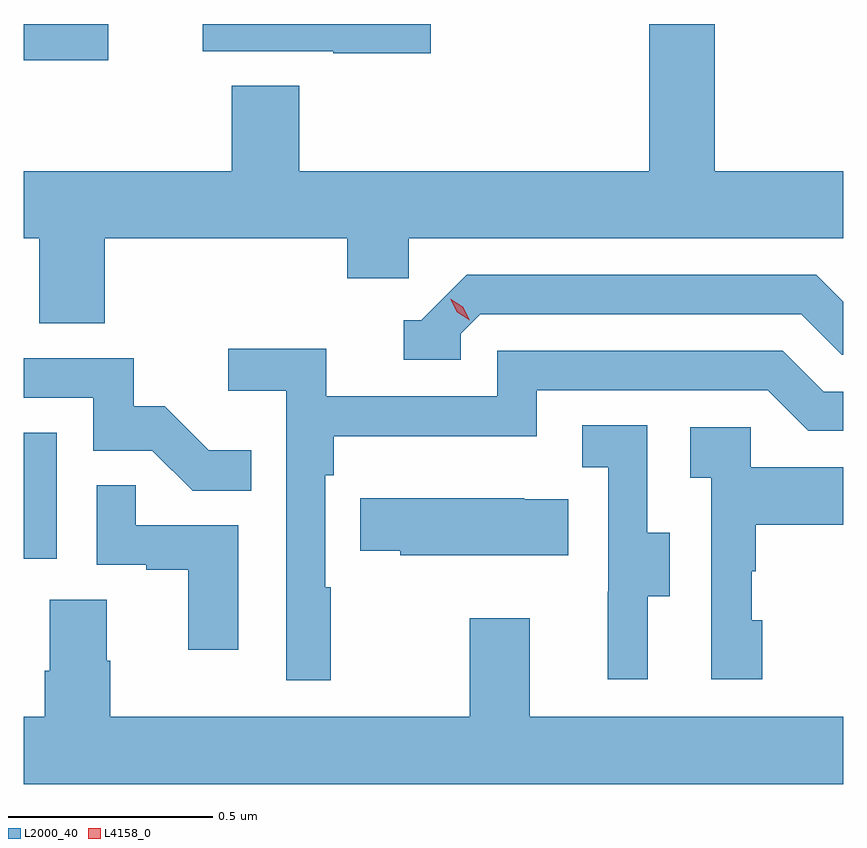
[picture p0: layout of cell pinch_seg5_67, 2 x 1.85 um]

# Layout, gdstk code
import gdstk
lib = gdstk.Library(unit=1e-6, precision=1e-09)
def R(c, l, rs):  # rectangles x0, y0, x1, y1
    for r in rs: c.add(gdstk.rectangle(r[:2], r[2:], *l))
def P(c, l, *ps):  # polygons
    for p in ps: c.add(gdstk.Polygon(p, *l))
L2000_40 = (2000, 40)
L4158_0 = (4158, 0)

pinch_seg5_67 = lib.new_cell('pinch_seg5_67')
R(pinch_seg5_67, L2000_40, [(1058.288,910.59,1058.368,910.897), (1058.288,911.806,1058.494,911.895)])
P(pinch_seg5_67, L2000_40, [(1058.486,911.372),(1059.077,911.372),(1059.077,911.274),(1059.228,911.274),(1059.228,911.372),(1060.288,911.372),(1060.288,911.536),(1059.975,911.536),(1059.975,911.895),(1059.815,911.895),(1059.815,911.536),(1058.96,911.536),(1058.96,911.744),(1058.795,911.744),(1058.795,911.536),(1058.288,911.536),(1058.288,911.372),(1058.326,911.372),(1058.326,911.164),(1058.486,911.164)],
  [(1059.281,911.895),(1058.725,911.895),(1058.725,911.829),(1059.043,911.829),(1059.043,911.824),(1059.281,911.824)],
  [(1059.354,911.139),(1059.402,911.187),(1060.185,911.187),(1060.284,911.088),(1060.288,911.088),(1060.288,911.217),(1060.222,911.283),(1059.369,911.283),(1059.258,911.172),(1059.215,911.172),(1059.215,911.076),(1059.354,911.076)],
  [(1059.037,910.52),(1059.024,910.52),(1059.024,910.793),(1059.044,910.793),(1059.044,910.889),(1059.54,910.889),(1059.54,911.001),(1060.104,911.001),(1060.203,910.902),(1060.288,910.902),(1060.288,910.998),(1060.24,910.998),(1060.141,911.097),(1059.444,911.097),(1059.444,910.986),(1059.026,910.986),(1059.026,911.102),(1058.787,911.102),(1058.787,911),(1058.928,911),(1058.928,910.293),(1059.037,910.293)],
  [(1058.843,910.855),(1058.739,910.855),(1058.632,910.962),(1058.556,910.962),(1058.556,911.079),(1058.288,911.079),(1058.288,910.983),(1058.457,910.983),(1058.457,910.854),(1058.602,910.854),(1058.7,910.756),(1058.843,910.756)],
  [(1059.811,910.498),(1059.865,910.498),(1059.865,910.653),(1059.81,910.653),(1059.81,910.916),(1059.651,910.916),(1059.651,910.813),(1059.714,910.813),(1059.714,910.509),(1059.713,910.509),(1059.713,910.296),(1059.811,910.296)],
  [(1060.09,910.44),(1060.065,910.44),(1060.065,910.559),(1060.075,910.559),(1060.075,910.673),(1060.288,910.673),(1060.288,910.813),(1060.062,910.813),(1060.062,910.911),(1059.915,910.911),(1059.915,910.787),(1059.966,910.787),(1059.966,910.296),(1060.09,910.296)],
  [(1058.812,910.671),(1058.561,910.671),(1058.561,910.769),(1058.466,910.769),(1058.466,910.575),(1058.587,910.575),(1058.587,910.563),(1058.69,910.563),(1058.69,910.368),(1058.812,910.368)],
  [(1059.617,910.735),(1059.509,910.735),(1059.509,910.738),(1059.109,910.738),(1059.109,910.609),(1059.207,910.609),(1059.207,910.598),(1059.617,910.598)],
  [(1060.288,910.204),(1059.523,910.204),(1059.523,910.444),(1059.376,910.444),(1059.376,910.204),(1058.499,910.204),(1058.499,910.341),(1058.491,910.341),(1058.491,910.49),(1058.351,910.49),(1058.351,910.316),(1058.339,910.316),(1058.339,910.204),(1058.288,910.204),(1058.288,910.04),(1060.288,910.04)])
P(pinch_seg5_67, L4158_0, [(1059.377,911.172),(1059.346,911.191),(1059.329,911.224),(1059.329,911.224),(1059.329,911.224),(1059.36,911.205),(1059.377,911.172),(1059.377,911.172)])

lib.write_gds('pinch_seg5_67.gds')
